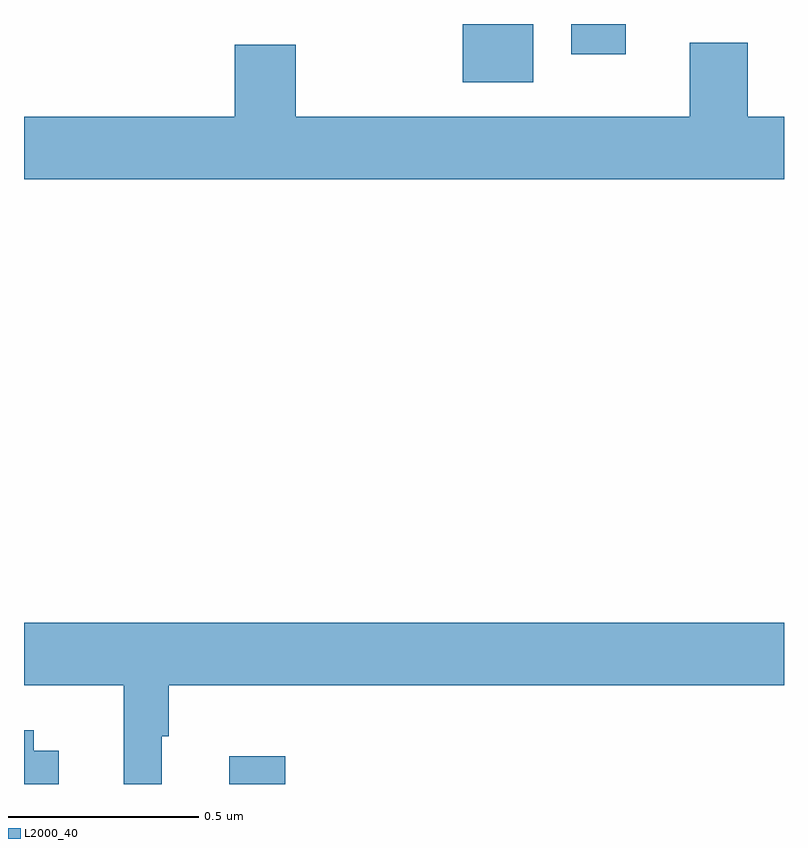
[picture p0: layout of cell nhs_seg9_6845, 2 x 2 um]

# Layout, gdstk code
import gdstk
lib = gdstk.Library(unit=1e-6, precision=1e-09)
def R(c, l, rs):  # rectangles x0, y0, x1, y1
    for r in rs: c.add(gdstk.rectangle(r[:2], r[2:], *l))
def P(c, l, *ps):  # polygons
    for p in ps: c.add(gdstk.Polygon(p, *l))
L2000_40 = (2000, 40)

nhs_seg9_6845 = lib.new_cell('nhs_seg9_6845')
R(nhs_seg9_6845, L2000_40, [(197.54,1189.5,197.687,1189.573), (198.155,1191.347,198.34,1191.5), (198.44,1191.42,198.583,1191.5)])
P(nhs_seg9_6845, L2000_40, [(199,1191.256),(198.905,1191.256),(198.905,1191.451),(198.752,1191.451),(198.752,1191.256),(197.715,1191.256),(197.715,1191.445),(197.555,1191.445),(197.555,1191.256),(197,1191.256),(197,1191.092),(199,1191.092)],
  [(197.362,1189.626),(197.381,1189.626),(197.381,1189.76),(199,1189.76),(199,1189.924),(197,1189.924),(197,1189.76),(197.263,1189.76),(197.263,1189.5),(197.362,1189.5)],
  [(197.092,1189.588),(197.026,1189.588),(197.026,1189.642),(197,1189.642),(197,1189.5),(197.092,1189.5)])

lib.write_gds('nhs_seg9_6845.gds')
